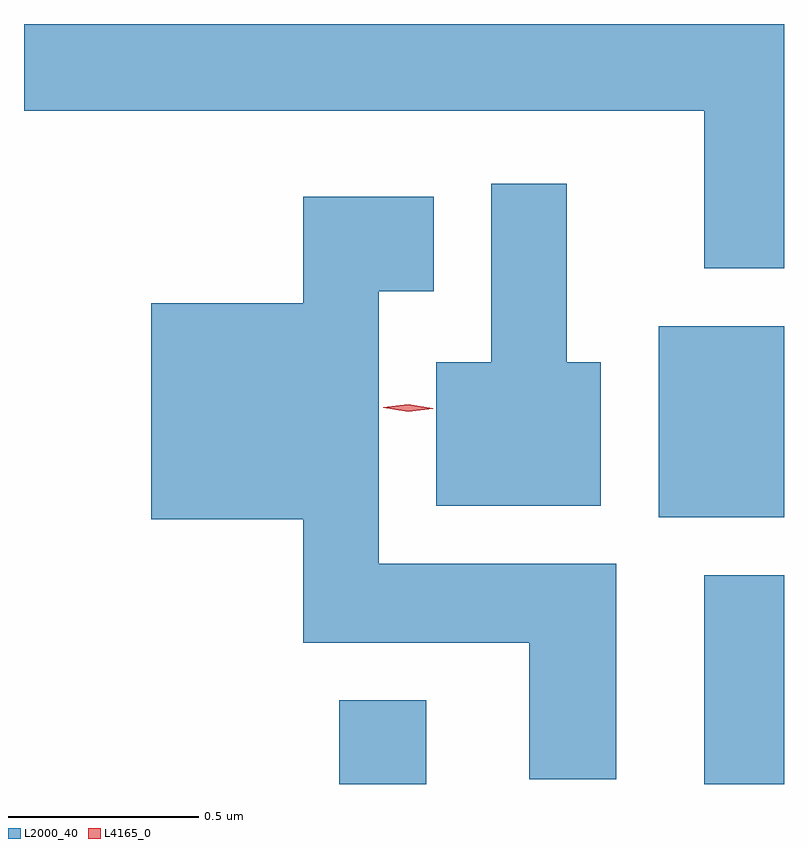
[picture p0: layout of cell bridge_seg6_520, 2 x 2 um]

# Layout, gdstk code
import gdstk
lib = gdstk.Library(unit=1e-6, precision=1e-09)
def R(c, l, rs):  # rectangles x0, y0, x1, y1
    for r in rs: c.add(gdstk.rectangle(r[:2], r[2:], *l))
def P(c, l, *ps):  # polygons
    for p in ps: c.add(gdstk.Polygon(p, *l))
L2000_40 = (2000, 40)
L4165_0 = (4165, 0)

bridge_seg6_520 = lib.new_cell('bridge_seg6_520')
R(bridge_seg6_520, L2000_40, [(1015.331,1594.884,1015.559,1595.104), (1016.291,1594.884,1016.501,1595.434), (1016.171,1595.586,1016.501,1596.089)])
P(bridge_seg6_520, L2000_40, [(1016.501,1596.884),(1014.501,1596.884),(1014.501,1596.656),(1016.291,1596.656),(1016.291,1596.241),(1016.501,1596.241)],
  [(1016.019,1595.994),(1015.929,1595.994),(1015.929,1596.464),(1015.731,1596.464),(1015.731,1595.994),(1015.586,1595.994),(1015.586,1595.616),(1016.019,1595.616)],
  [(1016.059,1595.464),(1015.434,1595.464),(1015.434,1596.181),(1015.579,1596.181),(1015.579,1596.429),(1015.236,1596.429),(1015.236,1596.149),(1014.836,1596.149),(1014.836,1595.581),(1015.236,1595.581),(1015.236,1595.256),(1015.831,1595.256),(1015.831,1594.896),(1016.059,1594.896)])
P(bridge_seg6_520, L4165_0, [(1015.512,1595.863),(1015.446,1595.874),(1015.446,1595.875),(1015.446,1595.875),(1015.512,1595.884),(1015.577,1595.873),(1015.578,1595.872),(1015.577,1595.872)])

lib.write_gds('bridge_seg6_520.gds')
